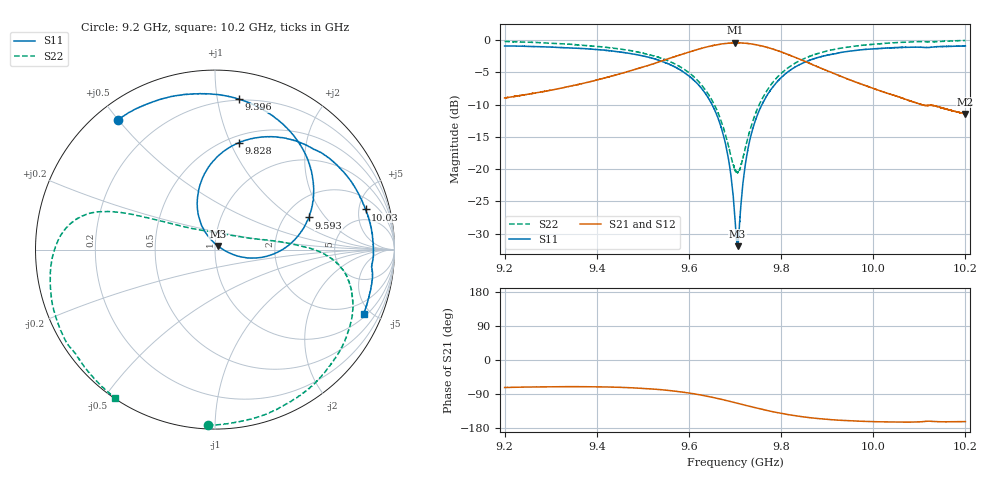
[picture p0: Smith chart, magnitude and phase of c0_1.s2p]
!Agilent Technologies,N5242A,MY51221714,A.09.90.19
!Agilent N5242A: A.09.90.19
!Date: Saturday, March 16, 2024 09:48:43
!Correction: S11(Full 2 Port(1,2))
!S21(Full 2 Port(1,2))
!S12(Full 2 Port(1,2))
!S22(Full 2 Port(1,2))
!S2P File: Measurements: S11, S21, S12, S22:
# Hz S  dB  R 50
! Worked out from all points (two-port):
!   16001 points, 9.2 GHz to 10.2 GHz, reference 50 ohm
!   highest |S21| = -0.40 dB at 9.7 GHz (marker M1); lowest = -11.4 dB at 10.2 GHz (marker M2)
!   |S21| within 3 dB of the highest: 9.533804 GHz to 9.533821 GHz (17.15 kHz wide, 0.00018 % of centre); 9.534 GHz to 9.856 GHz (321.5 MHz wide, 3.32 % of centre)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
!   lowest |S11| = -31.9 dB at 9.706 GHz (marker M3), VSWR 1.05, Z = 51.5 + j2.09 ohm
!   |S11| at or under -10 dB: 9.65 GHz to 9.758 GHz (108 MHz wide, 1.11 % of centre)
!   |S22| runs from -20.6 to 0.0 dB; largest |S21 - S12| = 0.013
!   S11 on the Smith chart (normalised r, x): 9.2 GHz: 0.06, +0.50; 9.396 GHz: 0.19, +1.15; 9.593 GHz: 2.67, +1.38; 9.828 GHz: 0.57, +1.08; 10.03 GHz: 3.23, +5.91; 10.2 GHz: 1.19, -4.55
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9.2e9  -0.90 126.9  -8.95 -72.6  -8.94 -73.2  -0.18 -92.3
9.277688e9  -1.01 109.5  -8.04 -71.0  -8.02 -71.5  -0.39 -71.0
9.366688e9  -1.29 88.4  -6.75 -70.4  -6.72 -70.9  -0.76 -47.4
9.396188e9  -1.42 81.0  -6.24 -70.6  -6.21 -71.3  -0.94 -40.0
9.533375e9  -3.07 40.8  -3.40 -77.8  -3.40 -78.3  -2.64 -10.4
9.592688e9  -5.16 18.9  -2.01 -85.9  -1.99 -86.4  -4.64 -1.3
9.635938e9  -8.30 0.9  -1.10 -94.8  -1.09 -95.4  -7.74 5.0
9.666625e9  -12.77 -11.8  -0.63 -102.7  -0.63 -103.3  -11.87 12.9
9.686812e9  -18.84 -15.8  -0.47 -108.6  -0.43 -109.2  -16.68 30.6
9.7e9  -27.59 3.0  -0.41 -112.5  -0.39 -113.2  -20.14 62.4
9.700312e9  -27.94 4.3  -0.40 -112.7  -0.40 -113.3  -20.06 63.7
9.7055e9  -31.94 53.5  -0.40 -114.3  -0.39 -114.8  -20.55 83.0
9.723562e9  -18.78 119.5  -0.48 -119.8  -0.45 -120.5  -16.41 132.0
9.743188e9  -12.65 114.3  -0.67 -125.8  -0.66 -126.4  -11.62 147.9
9.778688e9  -7.58 98.6  -1.29 -135.6  -1.29 -136.3  -6.84 155.9
9.827812e9  -4.29 77.3  -2.59 -146.5  -2.58 -147.1  -3.68 161.2
9.866688e9  -2.99 62.4  -3.74 -152.8  -3.72 -153.4  -2.38 165.7
9.949125e9  -1.69 35.9  -6.15 -160.3  -6.14 -160.9  -1.03 179.0
1.002738e10  -1.22 14.9  -8.15 -163.2  -8.13 -163.9  -0.48 -165.0
1.003338e10  -1.20 13.3  -8.30 -163.5  -8.27 -164.0  -0.44 -163.7
1.019944e10  -0.91 -23.2  -11.43 -162.5  -11.41 -163.3  -0.05 -124.2
1.02e10  -0.90 -23.3  -11.42 -162.5  -11.42 -163.2  -0.04 -124.0
